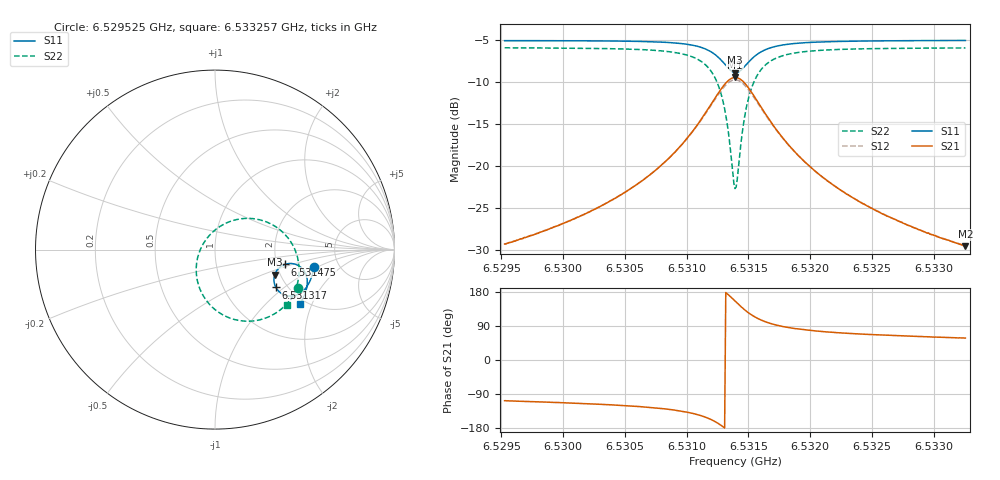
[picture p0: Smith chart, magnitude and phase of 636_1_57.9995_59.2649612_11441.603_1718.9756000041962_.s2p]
#  HZ  S  RI  R  50.00
! Rohde & Schwarz Vector Network Analyzer
! Rohde-Schwarz,ZNB20-2Port,1311601062101988,3.16
! Created: UTC 3/21/2024, 1:18:50 AM
! freq[Hz]  re:S11  im:S11  re:S21  im:S21  re:S12  im:S12  re:S22  im:S22
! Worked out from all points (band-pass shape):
!   401 points, 6.529525 GHz to 6.533257 GHz, reference 50 ohm
!   highest |S21| = -9.43 dB at 6.531391 GHz (marker M1); lowest = -29.6 dB at 6.533257 GHz (marker M2)
!   |S21| within 3 dB of the highest: 6.531206 GHz to 6.531579 GHz (373.2 kHz wide, 0.00571 % of centre)
!   lowest |S11| = -8.9 dB at 6.531391 GHz (marker M3), VSWR 2.13, Z = 93.7 - j30 ohm
!   |S11| at or under -10 dB: nowhere
!   |S22| runs from -22.7 to -5.9 dB; largest |S21 - S12| = 0.014
!   S11 on the Smith chart (normalised r, x): 6.529525 GHz: 3.27, -0.91; 6.531317 GHz: 1.75, -0.88; 6.531475 GHz: 2.21, -0.43; 6.533257 GHz: 1.83, -1.64
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6.5295252e9  0.5522 -0.0958  -0.0103 -0.0326  -0.011 -0.0324  0.4609 -0.2134
6.5301503e9  0.5391 -0.1488  -0.0212 -0.046  -0.0224 -0.0456  0.425 -0.2723
6.5304769e9  0.527 -0.1799  -0.0339 -0.0588  -0.0356 -0.058  0.3912 -0.3113
6.5307754e9  0.507 -0.2135  -0.0595 -0.0781  -0.0619 -0.0762  0.3335 -0.3566
6.5309994e9  0.475 -0.2432  -0.107 -0.0982  -0.1101 -0.0941  0.2388 -0.3934
6.531158e9  0.4247 -0.2593  -0.1852 -0.0999  -0.187 -0.0917  0.0974 -0.3863
6.5312513e9  0.3749 -0.2472  -0.2619 -0.0623  -0.2592 -0.0512  -0.0277 -0.3081
6.5312886e9  0.353 -0.2301  -0.2937 -0.0265  -0.2878 -0.0151  -0.0741 -0.2417
6.5313166e9  0.3392 -0.2106  -0.3126 0.0108  -0.3037 0.0214  -0.0976 -0.176
6.5313446e9  0.3303 -0.186  -0.3222 0.0562  -0.3109 0.0645  -0.1046 -0.0998
6.5313726e9  0.3291 -0.1581  -0.3187 0.1058  -0.3058 0.111  -0.0892 -0.0195
6.5313912e9  0.333 -0.1393  -0.3081 0.1383  -0.2948 0.1413  -0.0661 0.0317
6.5314099e9  0.341 -0.1218  -0.2913 0.1685  -0.2785 0.1689  -0.0332 0.077
6.5314472e9  0.3661 -0.0944  -0.2437 0.214  -0.2332 0.2112  0.0525 0.1433
6.5314752e9  0.3887 -0.0825  -0.2026 0.2336  -0.1943 0.2293  0.1234 0.168
6.5315405e9  0.4386 -0.0794  -0.1158 0.2385  -0.1118 0.2342  0.2685 0.1606
6.5316338e9  0.4828 -0.1028  -0.0407 0.2028  -0.039 0.2005  0.3895 0.0845
6.5317737e9  0.508 -0.1422  0.00354 0.1485  0.00468 0.1476  0.4542 -0.0236
6.5320163e9  0.5141 -0.1893  0.021 0.0943  0.0221 0.0939  0.468 -0.1342
6.5323055e9  0.5075 -0.2263  0.0226 0.0635  0.0236 0.063  0.4552 -0.2036
6.5326414e9  0.496 -0.2585  0.021 0.0449  0.0217 0.0447  0.4358 -0.2527
6.5332572e9  0.4712 -0.3059  0.0176 0.0281  0.0183 0.0278  0.4008 -0.3105
